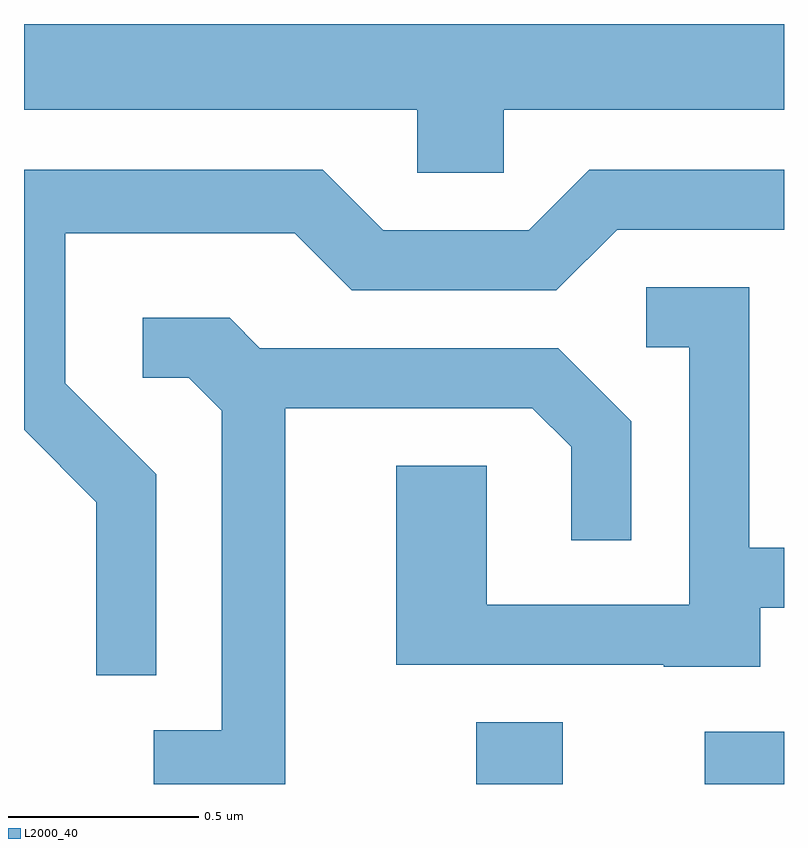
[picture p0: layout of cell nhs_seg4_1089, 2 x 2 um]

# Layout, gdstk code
import gdstk
lib = gdstk.Library(unit=1e-6, precision=1e-09)
def R(c, l, rs):  # rectangles x0, y0, x1, y1
    for r in rs: c.add(gdstk.rectangle(r[:2], r[2:], *l))
def P(c, l, *ps):  # polygons
    for p in ps: c.add(gdstk.Polygon(p, *l))
L2000_40 = (2000, 40)

nhs_seg4_1089 = lib.new_cell('nhs_seg4_1089')
R(nhs_seg4_1089, L2000_40, [(193.801,1383.982,194.029,1384.144), (194.403,1383.982,194.611,1384.119)])
P(nhs_seg4_1089, L2000_40, [(193.874,1385.756),(194.611,1385.756),(194.611,1385.982),(192.611,1385.982),(192.611,1385.756),(193.646,1385.756),(193.646,1385.591),(193.874,1385.591)],
  [(192.959,1384.797),(192.719,1385.037),(192.719,1385.431),(193.324,1385.431),(193.474,1385.281),(194.012,1385.281),(194.172,1385.441),(194.611,1385.441),(194.611,1385.599),(194.099,1385.599),(193.939,1385.439),(193.557,1385.439),(193.397,1385.599),(192.611,1385.599),(192.611,1384.914),(192.801,1384.724),(192.801,1384.268),(192.959,1384.268)],
  [(194.549,1384.446),(194.611,1384.446),(194.611,1384.604),(194.519,1384.604),(194.519,1385.289),(194.248,1385.289),(194.248,1385.131),(194.361,1385.131),(194.361,1384.454),(193.829,1384.454),(193.829,1384.819),(193.591,1384.819),(193.591,1384.296),(194.295,1384.296),(194.295,1384.291),(194.549,1384.291)],
  [(193.299,1384.971),(193.949,1384.971),(194.051,1384.869),(194.051,1384.623),(194.209,1384.623),(194.209,1384.937),(194.017,1385.129),(193.232,1385.129),(193.152,1385.209),(192.923,1385.209),(192.923,1385.051),(193.044,1385.051),(193.131,1384.964),(193.131,1384.124),(192.953,1384.124),(192.953,1383.982),(193.299,1383.982)])

lib.write_gds('nhs_seg4_1089.gds')
